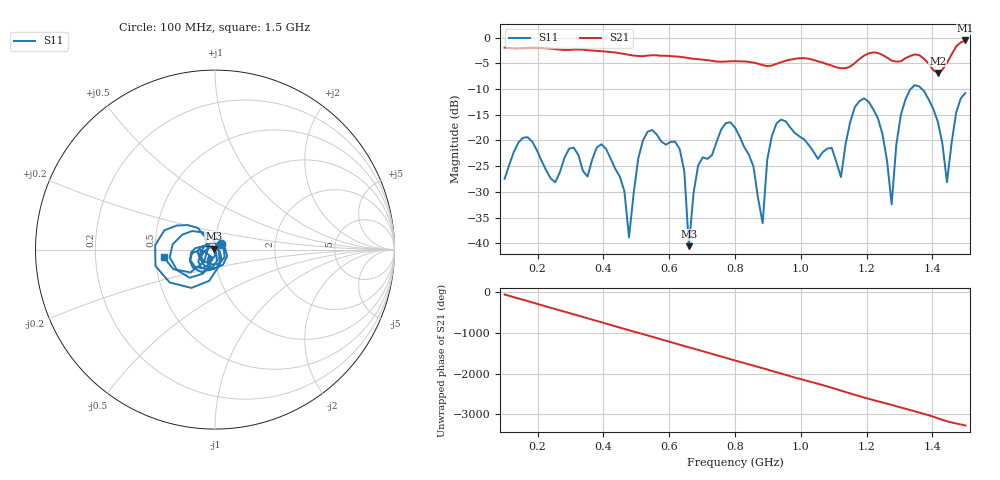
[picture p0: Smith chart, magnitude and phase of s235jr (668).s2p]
! NanoVNA-App
! Date: 2025-09-25 15:09:22
! Start: 100MHz Stop: 1,5GHz Points: 101
! S-Parameter data: F S11 S21 S12 S22
# Hz S RI R 50
!  Frequency  S11_Real  S11_Imag  S21_Real  S21_Imag  S12_Real  S12_Imag  S22_Real  S22_Imag
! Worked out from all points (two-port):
!   101 points, 100 MHz to 1.5 GHz, reference 50 ohm
!   highest |S21| = -0.57 dB at 1.5 GHz (marker M1); lowest = -6.9 dB at 1.416 GHz (marker M2)
!   |S21| within 3 dB of the highest: start of sweep to 503.4 MHz; 527.1 MHz to 595.6 MHz (68.55 MHz wide, 12.2 % of centre) (the widest 2 of 5)
!   lowest |S11| = -40.6 dB at 660 MHz (marker M3), VSWR 1.02, Z = 49.3 + j0.59 ohm
!   |S11| at or under -10 dB: start of sweep to 1.334 GHz; 1.368 GHz to end of sweep
!   S12 and S22 are empty: the file has one direction only
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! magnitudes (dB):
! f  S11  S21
! 100 MHz  -27.5  -2.0
! 170 MHz  -19.4  -2.0
! 338 MHz  -25.9  -2.4
! 408 MHz  -21.6  -2.7
! 478 MHz  -38.9  -3.4
! 520 MHz  -20.1  -3.6
! 576 MHz  -20.2  -3.5
! 632 MHz  -21.7  -3.7
! 660 MHz  -40.6  -4.0
! 688 MHz  -24.9  -4.2
! 800 MHz  -17.5  -4.6
! 884 MHz  -36.1  -5.4
! 926 MHz  -16.7  -5.1
! 1.038 GHz  -22.1  -4.3
! 1.122 GHz  -27.1  -6.0
! 1.192 GHz  -11.8  -3.5
! 1.248 GHz  -18.7  -3.4
! 1.276 GHz  -32.4  -4.5
! 1.332 GHz  -10.1  -3.6
! 1.416 GHz  -16.3  -6.9
! 1.444 GHz  -28.1  -4.9
! 1.5 GHz  -10.8  -0.6
